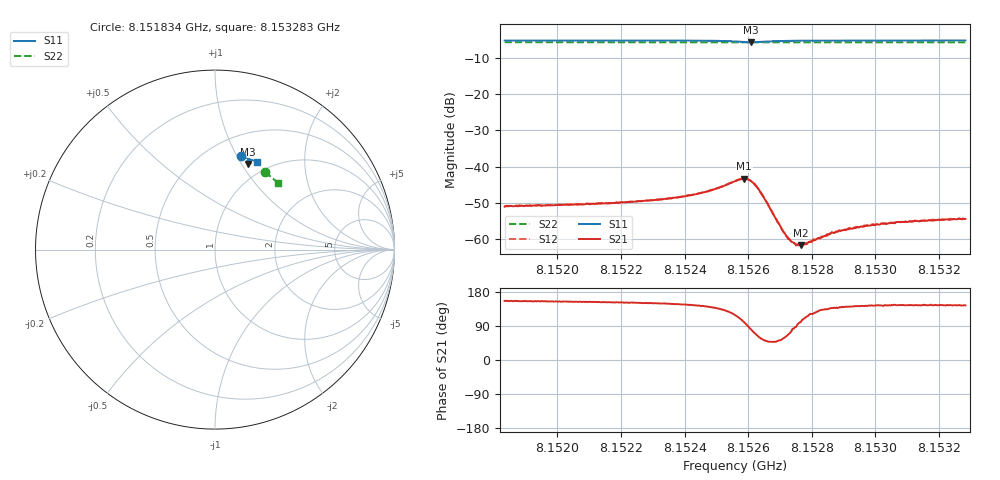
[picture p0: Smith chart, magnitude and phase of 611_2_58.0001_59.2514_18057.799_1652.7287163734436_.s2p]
#  HZ  S  RI  R  50.00
! Rohde & Schwarz Vector Network Analyzer
! Rohde-Schwarz,ZNB20-2Port,1311601062101988,3.16
! Created: UTC 3/21/2024, 1:17:44 AM
! freq[Hz]  re:S11  im:S11  re:S21  im:S21  re:S12  im:S12  re:S22  im:S22
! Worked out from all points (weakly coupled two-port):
!   401 points, 8.151834 GHz to 8.153283 GHz, reference 50 ohm
!   highest |S21| = -43.31 dB at 8.152587 GHz (marker M1); lowest = -61.5 dB at 8.152765 GHz (marker M2)
!   lowest |S11| = -5.8 dB at 8.152609 GHz (marker M3), VSWR 3.10, Z = 41.4 + j53.5 ohm
!   |S11| at or under -10 dB: nowhere
!   |S22| runs from -5.9 to -5.8 dB; largest |S21 - S12| = 0.00013
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8.1518337e9  0.1462 0.5201  -0.00258 0.00115  -0.00262 0.00124  0.2779 0.4302
8.1520764e9  0.1635 0.5152  -0.00271 0.00136  -0.00272 0.0014  0.2907 0.4212
8.1523192e9  0.1814 0.509  -0.00304 0.00177  -0.00304 0.00188  0.3031 0.4121
8.1523844e9  0.1869 0.5064  -0.00321 0.00208  -0.00318 0.00219  0.3066 0.4093
8.1524605e9  0.194 0.502  -0.00352 0.00271  -0.00348 0.00277  0.3103 0.4063
8.1525112e9  0.1991 0.4964  -0.00363 0.00371  -0.00364 0.00378  0.3129 0.404
8.1525583e9  0.2009 0.486  -0.00305 0.00555  -0.00302 0.00561  0.315 0.4017
8.1525873e9  0.1949 0.4779  -0.00113 0.00674  -0.00108 0.00678  0.3161 0.4005
8.152609e9  0.1852 0.4775  0.00104 0.00625  0.00115 0.00627  0.3167 0.3998
8.1526235e9  0.1803 0.4819  0.00206 0.00508  0.00212 0.00515  0.3173 0.3994
8.152638e9  0.1783 0.4874  0.00237 0.00378  0.00244 0.0038  0.318 0.3992
8.1527177e9  0.1897 0.5007  0.000548 0.00102  0.000562 0.00102  0.3224 0.3963
8.1527322e9  0.1918 0.5011  0.000295 0.000924  0.000285 0.000936  0.3232 0.3956
8.152743e9  0.1933 0.5012  0.000116 0.000897  0.000137 0.000882  0.3237 0.3952
8.1527575e9  0.1951 0.5013  -9.32e-05 0.000843  -3.83e-05 0.000829  0.3244 0.3947
8.1527648e9  0.1958 0.5012  -0.000145 0.000829  -0.00012 0.000801  0.3247 0.3943
8.152801e9  0.2 0.5007  -0.000488 0.000799  -0.000485 0.00082  0.3265 0.3929
8.1528554e9  0.2051 0.4998  -0.000842 0.000828  -0.000864 0.000847  0.3292 0.3905
8.1528916e9  0.2082 0.4989  -0.000992 0.000855  -0.00102 0.000865  0.331 0.389
8.1529894e9  0.2158 0.4965  -0.00128 0.000925  -0.00129 0.000956  0.3356 0.3848
8.1530437e9  0.2198 0.4949  -0.00138 0.000976  -0.00135 0.000985  0.3382 0.3826
8.1532829e9  0.2362 0.4881  -0.00156 0.00112  -0.00158 0.00114  0.3493 0.3718
